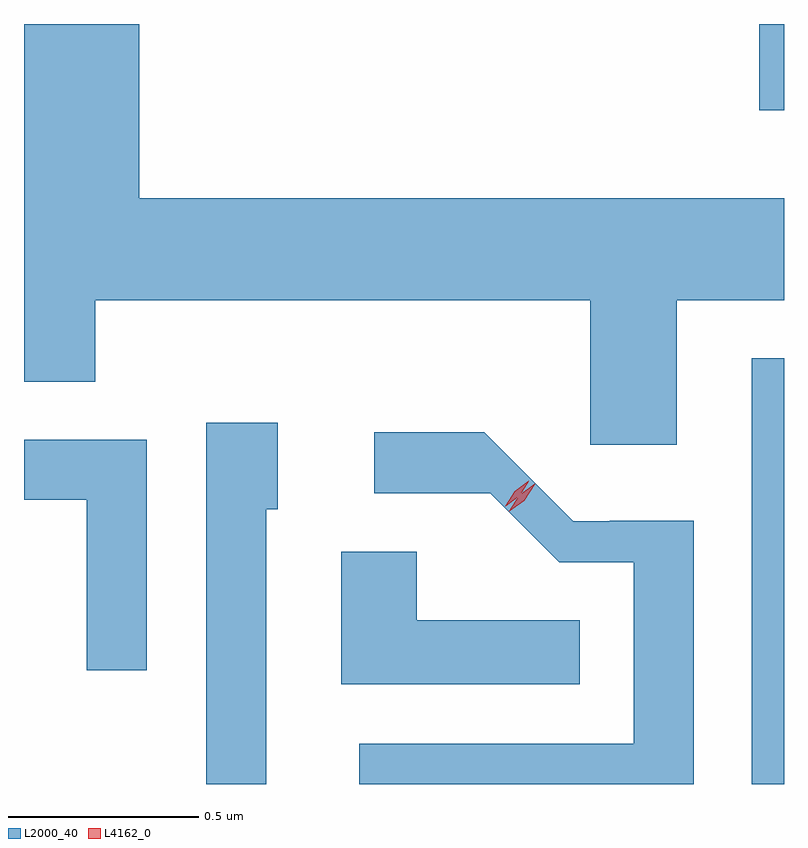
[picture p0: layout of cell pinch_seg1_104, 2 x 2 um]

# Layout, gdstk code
import gdstk
lib = gdstk.Library(unit=1e-6, precision=1e-09)
def R(c, l, rs):  # rectangles x0, y0, x1, y1
    for r in rs: c.add(gdstk.rectangle(r[:2], r[2:], *l))
def P(c, l, *ps):  # polygons
    for p in ps: c.add(gdstk.Polygon(p, *l))
L2000_40 = (2000, 40)
L4162_0 = (4162, 0)

pinch_seg1_104 = lib.new_cell('pinch_seg1_104')
R(pinch_seg1_104, L2000_40, [(211.196,867.223,211.281,868.344), (211.216,868.996,211.281,869.223)])
P(pinch_seg1_104, L2000_40, [(210.999,868.496),(211.281,868.496),(211.281,868.764),(209.584,868.764),(209.584,869.223),(209.281,869.223),(209.281,868.281),(209.469,868.281),(209.469,868.496),(210.771,868.496),(210.771,868.116),(210.999,868.116)],
  [(209.919,867.946),(209.949,867.946),(209.949,868.174),(209.761,868.174),(209.761,867.223),(209.919,867.223)],
  [(211.044,867.916),(210.823,867.916),(210.823,867.915),(210.726,867.915),(210.492,868.149),(210.203,868.149),(210.203,867.988),(210.508,867.988),(210.69,867.806),(210.886,867.806),(210.886,867.329),(210.163,867.329),(210.163,867.223),(211.044,867.223)],
  [(209.604,868.129),(209.281,868.129),(209.281,867.971),(209.446,867.971),(209.446,867.523),(209.604,867.523)],
  [(210.743,867.654),(210.314,867.654),(210.314,867.834),(210.116,867.834),(210.116,867.486),(210.743,867.486)])
P(pinch_seg1_104, L4162_0, [(210.556,867.939),(210.556,867.94),(210.584,867.983),(210.625,868.013),(210.626,868.013),(210.626,868.013),(210.598,867.969),(210.557,867.939)],
  [(210.548,867.954),(210.548,867.954),(210.572,867.994),(210.609,868.021),(210.609,868.021),(210.609,868.02),(210.586,867.981),(210.549,867.954)])

lib.write_gds('pinch_seg1_104.gds')
